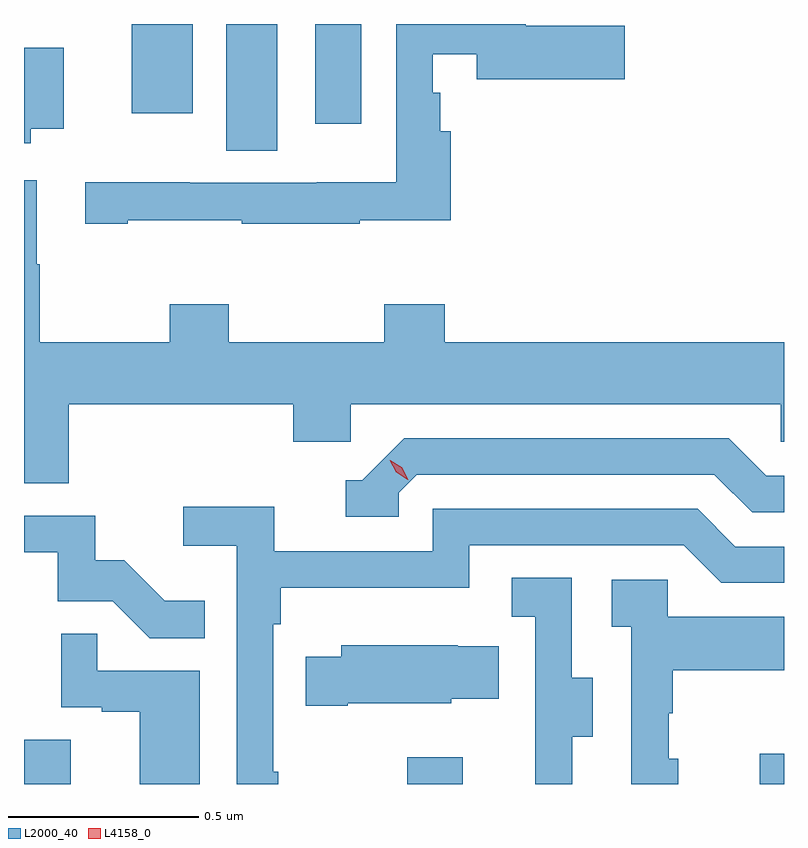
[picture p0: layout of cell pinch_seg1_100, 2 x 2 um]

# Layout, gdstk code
import gdstk
lib = gdstk.Library(unit=1e-6, precision=1e-09)
def R(c, l, rs):  # rectangles x0, y0, x1, y1
    for r in rs: c.add(gdstk.rectangle(r[:2], r[2:], *l))
def P(c, l, *ps):  # polygons
    for p in ps: c.add(gdstk.Polygon(p, *l))
L2000_40 = (2000, 40)
L4158_0 = (4158, 0)

pinch_seg1_100 = lib.new_cell('pinch_seg1_100')
R(pinch_seg1_100, L2000_40, [(1041.496,553.397,1041.619,553.514), (1042.504,553.397,1042.651,553.468), (1043.432,553.397,1043.496,553.477), (1042.028,555.064,1042.162,555.397), (1042.262,555.135,1042.384,555.397), (1041.779,555.162,1041.94,555.397)])
P(pinch_seg1_100, L2000_40, [(1041.769,554.881),(1042.069,554.881),(1042.069,554.871),(1042.379,554.871),(1042.379,554.881),(1042.619,554.881),(1042.619,555.115),(1042.592,555.115),(1042.592,555.216),(1042.572,555.216),(1042.572,555.317),(1042.688,555.317),(1042.688,555.251),(1043.077,555.251),(1043.077,555.393),(1042.816,555.393),(1042.816,555.397),(1042.476,555.397),(1042.476,554.98),(1042.266,554.98),(1042.266,554.979),(1041.932,554.979),(1041.932,554.981),(1041.657,554.981),(1041.657,554.871),(1041.769,554.871)],
  [(1041.514,555.122),(1041.601,555.122),(1041.601,555.334),(1041.496,555.334),(1041.496,555.083),(1041.514,555.083)],
  [(1041.614,554.396),(1042.205,554.396),(1042.205,554.298),(1042.356,554.298),(1042.356,554.396),(1043.487,554.396),(1043.487,554.298),(1043.496,554.298),(1043.496,554.56),(1042.603,554.56),(1042.603,554.659),(1042.444,554.659),(1042.444,554.56),(1042.035,554.56),(1042.035,554.659),(1041.88,554.659),(1041.88,554.56),(1041.537,554.56),(1041.537,554.765),(1041.529,554.765),(1041.529,554.986),(1041.496,554.986),(1041.496,554.188),(1041.614,554.188)],
  [(1042.482,554.163),(1042.53,554.211),(1043.313,554.211),(1043.412,554.112),(1043.496,554.112),(1043.496,554.208),(1043.449,554.208),(1043.35,554.307),(1042.497,554.307),(1042.386,554.196),(1042.343,554.196),(1042.343,554.1),(1042.482,554.1)],
  [(1042.165,553.429),(1042.152,553.429),(1042.152,553.817),(1042.172,553.817),(1042.172,553.913),(1042.668,553.913),(1042.668,554.025),(1043.232,554.025),(1043.331,553.926),(1043.496,553.926),(1043.496,554.022),(1043.368,554.022),(1043.269,554.121),(1042.572,554.121),(1042.572,554.01),(1042.154,554.01),(1042.154,554.126),(1041.915,554.126),(1041.915,554.024),(1042.056,554.024),(1042.056,553.397),(1042.165,553.397)],
  [(1041.971,553.879),(1041.867,553.879),(1041.76,553.986),(1041.684,553.986),(1041.684,554.103),(1041.496,554.103),(1041.496,554.007),(1041.585,554.007),(1041.585,553.878),(1041.729,553.878),(1041.827,553.78),(1041.971,553.78)],
  [(1042.939,553.522),(1042.993,553.522),(1042.993,553.677),(1042.938,553.677),(1042.938,553.94),(1042.779,553.94),(1042.779,553.837),(1042.842,553.837),(1042.842,553.533),(1042.841,553.533),(1042.841,553.397),(1042.939,553.397)],
  [(1043.218,553.464),(1043.193,553.464),(1043.193,553.583),(1043.203,553.583),(1043.203,553.697),(1043.496,553.697),(1043.496,553.837),(1043.19,553.837),(1043.19,553.935),(1043.043,553.935),(1043.043,553.811),(1043.094,553.811),(1043.094,553.397),(1043.218,553.397)],
  [(1041.958,553.695),(1041.689,553.695),(1041.689,553.793),(1041.594,553.793),(1041.594,553.599),(1041.701,553.599),(1041.701,553.587),(1041.8,553.587),(1041.8,553.397),(1041.958,553.397)],
  [(1042.348,553.61),(1042.62,553.61),(1042.62,553.622),(1042.745,553.622),(1042.745,553.759),(1042.637,553.759),(1042.637,553.762),(1042.331,553.762),(1042.331,553.732),(1042.237,553.732),(1042.237,553.603),(1042.348,553.603)])
P(pinch_seg1_100, L4158_0, [(1042.506,554.198),(1042.475,554.217),(1042.459,554.249),(1042.459,554.249),(1042.46,554.249),(1042.49,554.23),(1042.507,554.198),(1042.507,554.198)])

lib.write_gds('pinch_seg1_100.gds')
